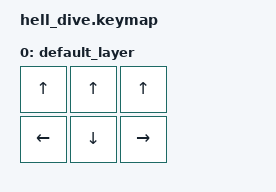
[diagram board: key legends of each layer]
#include <behaviors.dtsi>
#include <dt-bindings/zmk/keys.h>
#include <dt-bindings/zmk/bt.h>

/ {  
    keymap {
        compatible = "zmk,keymap";

        default_layer {
            bindings = <
                &kp UP     &kp   UP     &kp UP 
                &kp LEFT   &kp   DOWN   &kp RIGHT
            >;
        }; 

    };
};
